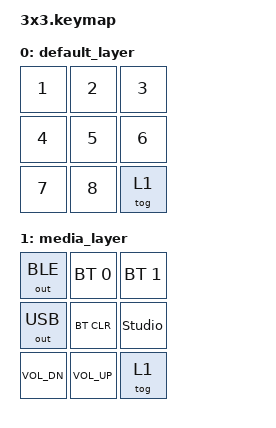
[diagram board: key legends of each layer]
#include <behaviors.dtsi>
#include <dt-bindings/zmk/keys.h>
#include <dt-bindings/zmk/bt.h>
#include <dt-bindings/zmk/outputs.h>

/ {
    keymap {
        compatible = "zmk,keymap";

        // Position (row, column) below maps to the wiring in 3x3.overlay:
        //   row 0 = D0   row 1 = D1   row 2 = D2
        //   col 0 = D3   col 1 = D6   col 2 = D7
        // So the top-left key is D0-D3, the bottom-right key is D2-D7.
        default_layer { // Layer 0
            // -------------------------------------
            // |    N1     |    N2     |    N3     |
            // |    N4     |    N5     |    N6     |
            // |    N7     |    N8     | toggle L1 |
            // -------------------------------------
            bindings = <
                &kp N1  &kp N2  &kp N3
                &kp N4  &kp N5  &kp N6
                &kp N7  &kp N8  &tog 1
            >;
        };

        // Toggle (not hold) so layer changes survive without holding a key.
        // This layer only becomes reachable once the matrix is verified.
        media_layer { // Layer 1
            // -------------------------------------
            // |  out BLE  |  BT SEL 0 |  BT SEL 1 |
            // |  out USB  |  BT CLR   | studio    |
            // |  vol -    |  vol +    | back to L0|
            // -------------------------------------
            bindings = <
                &out OUT_BLE  &bt BT_SEL 0  &bt BT_SEL 1
                &out OUT_USB  &bt BT_CLR    &studio_unlock
                &kp C_VOL_DN  &kp C_VOL_UP  &tog 1
            >;
        };
    };
};
